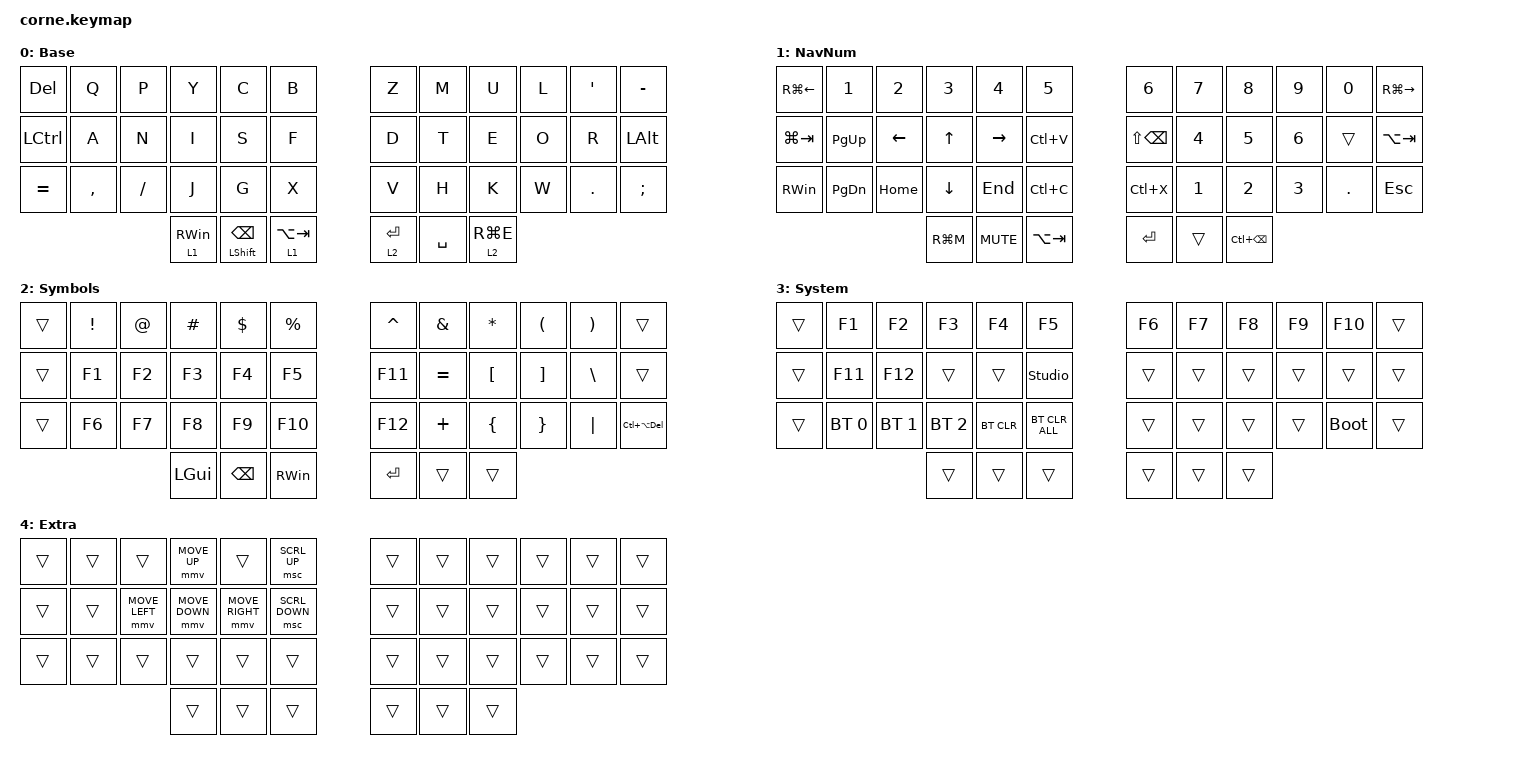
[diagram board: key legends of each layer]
#include <behaviors.dtsi>
#include <dt-bindings/zmk/bt.h>
#include <dt-bindings/zmk/keys.h>
#include <dt-bindings/zmk/pointing.h>

#define DEF 0
#define NAV 1
#define SYM 2
#define ADJ 3
#define EXTRA 4

/ {
    behaviors {
        hm: homerow_mods {
            compatible = "zmk,behavior-hold-tap";
            label = "HOMEROW_MODS";
            #binding-cells = <2>;
            tapping-term-ms = <200>;
            quick_tap_ms = <0>;
            flavor = "tap-preferred";
            bindings = <&kp>, <&kp>;

            quick-tap-ms = <180>;
            global-quick-tap;
        };

        para: para {
            compatible = "zmk,behavior-tap-dance";
            label = "PARA";
            #binding-cells = <0>;
            bindings = <&kp LEFT_PARENTHESIS>, <&kp RIGHT_PARENTHESIS>;
        };

        caps: caps {
            compatible = "zmk,behavior-caps-word";
            label = "CAPS";
            #binding-cells = <0>;
            continue-list = <MINUS BACKSPACE>;
        };

        paraless: paraless {
            compatible = "zmk,behavior-mod-morph";
            label = "PARALESS";
            bindings = <&kp LEFT_PARENTHESIS>, <&kp LESS_THAN>;

            #binding-cells = <0>;
            mods = <(MOD_LSFT)>;
        };

        paragreat: paragreat {
            compatible = "zmk,behavior-mod-morph";
            label = "PARAGREAT";
            bindings = <&kp RIGHT_PARENTHESIS>, <&kp GREATER_THAN>;

            #binding-cells = <0>;
            mods = <(MOD_LSFT)>;
        };
    };

    macros {
        browsertab: browsertab {
            compatible = "zmk,behavior-macro";
            #binding-cells = <0>;
            bindings =
                <&macro_press>,
                <&kp LCTRL>,
                <&macro_tap>,
                <&kp TAB>,
                <&macro_release>,
                <&kp LCTRL>;
        };
    };

    combos {
        compatible = "zmk,combos";

        escape {
            bindings = <&kp ESCAPE>;
            key-positions = <13 29>;
        };

        delete {
            bindings = <&kp DELETE>;
            key-positions = <15 21>;
        };

        perc {
            bindings = <&kp PERCENT>;
            key-positions = <5 17>;
        };

        equal {
            bindings = <&kp EQUAL>;
            key-positions = <28 16>;
        };

        dollar {
            bindings = <&kp DOLLAR>;
            key-positions = <4 16>;
        };

        pound {
            bindings = <&kp POUND>;
            key-positions = <3 15>;
        };

        at {
            bindings = <&kp AT>;
            key-positions = <2 14>;
        };

        backslash {
            bindings = <&kp BACKSLASH>;
            key-positions = <26 14>;
        };

        copy {
            bindings = <&kp DELETE>;
            key-positions = <28 27>;
        };

        paste {
            bindings = <&kp K_CUT>;
            key-positions = <26 27>;
        };

        star {
            bindings = <&kp STAR>;
            key-positions = <8 20>;
        };

        slash {
            bindings = <&kp SLASH>;
            key-positions = <32 20>;
        };

        plus {
            bindings = <&kp PLUS>;
            key-positions = <7 19>;
        };

        minus {
            bindings = <&kp KP_MINUS>;
            key-positions = <31 19>;
        };

        underscore {
            bindings = <&kp UNDER>;
            key-positions = <30 18>;
        };

        leftbrack {
            bindings = <&kp LEFT_BRACKET>;
            key-positions = <31 32>;
        };

        rightbrack {
            bindings = <&kp RIGHT_BRACKET>;
            key-positions = <33 32>;
        };

        para-less {
            bindings = <&paraless>;
            key-positions = <20 19>;
        };

        para-great {
            bindings = <&paragreat>;
            key-positions = <20 21>;
        };

        Jump {
            bindings = <&kp LC(J)>;
            key-positions = <15 16>;
        };

        MEHS {
            bindings = <&kp LS(LC(S))>;
            key-positions = <16 17>;
        };

        Copy {
            bindings = <&kp LC(ASTRK)>;
            key-positions = <3 4>;
        };

        FolderTree {
            bindings = <&kp RG(E)>;
            key-positions = <29 28>;
        };

        Paste {
            bindings = <&kp LC(V)>;
            key-positions = <4 5>;
        };
    };

    //

    keymap {
        compatible = "zmk,keymap";

        DEF {
            display-name = "Base";

            // -----------------------------------------------------------------------------------------
            // |  Q  |  W  |  E  |  R  |  T  |   |  Y  |  U   |  I  |  O  |  P  |
            // |  A  |  S  |  D  |  F  |  G  |   |  H  |  J   |  K  |  L  |  ;  |
            // |  Z  |  X  |  C  |  V  |  B  |   |  N  |  M   |  ,  |  .  |  /  |
            // | GUI | CTRL | SHFT | LWR | SPC |   | ENT | RSE  | BKSP | ALT | ESC |

            bindings = <
&kp DELETE  &kp Q      &kp P      &kp Y            &kp C                     &kp B            &kp Z        &kp M      &kp U        &kp L  &kp APOS    &kp MINUS
&kp LCTRL   &kp A      &kp N      &kp I            &kp S                     &kp F            &kp D        &kp T      &kp E        &kp O  &kp R       &kp LEFT_ALT
&kp EQUAL   &kp COMMA  &kp SLASH  &kp J            &kp G                     &kp X            &kp V        &kp H      &kp K        &kp W  &kp PERIOD  &kp SEMICOLON
                                  &lt 1 RIGHT_WIN  &mt LEFT_SHIFT BACKSPACE  &lt 1 LA(TAB)    &lt 2 ENTER  &kp SPACE  &lt 2 RG(E)
            >;
        };

        NAV {
            display-name = "NavNum";

            // -----------------------------------------------------------------------------------------
            // |  TAB |  1  |  2  |  3  |  4  |  5  |   |  6  |  7  |  8  |  9  |  0  | BKSP |
            // | BTCLR| BT1 | BT2 | BT3 | BT4 | BT5 |   | LFT | DWN |  UP | RGT |     |      |
            // | SHFT |     |     |     |     |     |   |     |     |     |     |     |      |
            // | GUI | CTRL | SHFT | LWR | SPC |   | ENT | RSE  | BKSP | ALT | ESC |

            bindings = <
&kp RG(LEFT_ARROW)  &kp N1         &kp N2    &kp N3        &kp N4      &kp N5         &kp N6             &kp N7  &kp N8             &kp N9  &kp N0      &kp RG(RIGHT)
&kp LG(TAB)         &kp PAGE_UP    &kp LEFT  &kp UP_ARROW  &kp RIGHT   &kp LC(V)      &kp LS(BACKSPACE)  &kp N4  &kp N5             &kp N6  &trans      &kp LA(TAB)
&kp RIGHT_WIN       &kp PAGE_DOWN  &kp HOME  &kp DOWN      &kp END     &kp LC(C)      &kp LC(X)          &kp N1  &kp N2             &kp N3  &kp PERIOD  &kp ESC
                                             &kp RG(M)     &kp K_MUTE  &kp LA(TAB)    &kp RET            &trans  &kp LC(BACKSPACE)
            >;
        };

        SYM {
            display-name = "Symbols";

            // -----------------------------------------------------------------------------------------
            // |  TAB |  !  |  @  |  #  |  $  |  %  |   |  ^  |  &  |  *  |  (  |  )  | BKSP |
            // | CTRL |     |     |     |     |     |   |  -  |  =  |  [  |  ]  |  \  |  `   |
            // | SHFT |     |     |     |     |     |   |  _  |  +  |  {  |  }  | "|" |  ~   |
            //                    | GUI |     | SPC |   | ENT |     | ALT |

            bindings = <
&trans  &kp EXCL  &kp AT  &kp HASH  &kp DLLR       &kp PRCNT        &kp CARET  &kp AMPS   &kp ASTRK  &kp LEFT_PARENTHESIS  &kp RPAR  &trans
&trans  &kp F1    &kp F2  &kp F3    &kp F4         &kp F5           &kp F11    &kp EQUAL  &kp LBKT   &kp RBKT              &kp BSLH  &trans
&trans  &kp F6    &kp F7  &kp F8    &kp F9         &kp F10          &kp F12    &kp PLUS   &kp LBRC   &kp RBRC              &kp PIPE  &kp LC(LA(DEL))
                          &kp LGUI  &kp BACKSPACE  &kp RIGHT_WIN    &kp RET    &trans     &trans
            >;
        };

        ADJ {
            display-name = "System";
            bindings = <
&trans  &kp F1        &kp F2        &kp F3        &kp F4      &kp F5            &kp F6  &kp F7  &kp F8  &kp F9  &kp F10      &trans
&trans  &kp F11       &kp F12       &trans        &trans      &studio_unlock    &trans  &trans  &trans  &trans  &trans       &trans
&trans  &bt BT_SEL 0  &bt BT_SEL 1  &bt BT_SEL 2  &bt BT_CLR  &bt BT_CLR_ALL    &trans  &trans  &trans  &trans  &bootloader  &trans
                                    &trans        &trans      &trans            &trans  &trans  &trans
            >;
        };

        EXTRA {
            display-name = "Extra";
            bindings = <
&trans  &trans  &trans          &mmv MOVE_UP    &trans           &msc SCRL_UP      &trans  &trans  &trans  &trans  &trans  &trans
&trans  &trans  &mmv MOVE_LEFT  &mmv MOVE_DOWN  &mmv MOVE_RIGHT  &msc SCRL_DOWN    &trans  &trans  &trans  &trans  &trans  &trans
&trans  &trans  &trans          &trans          &trans           &trans            &trans  &trans  &trans  &trans  &trans  &trans
                                &trans          &trans           &trans            &trans  &trans  &trans
            >;
        };
    };

    conditional_layers {
        compatible = "zmk,conditional-layers";

        l3 {
            if-layers = <1 2>;
            then-layer = <3>;
        };
    };
};
